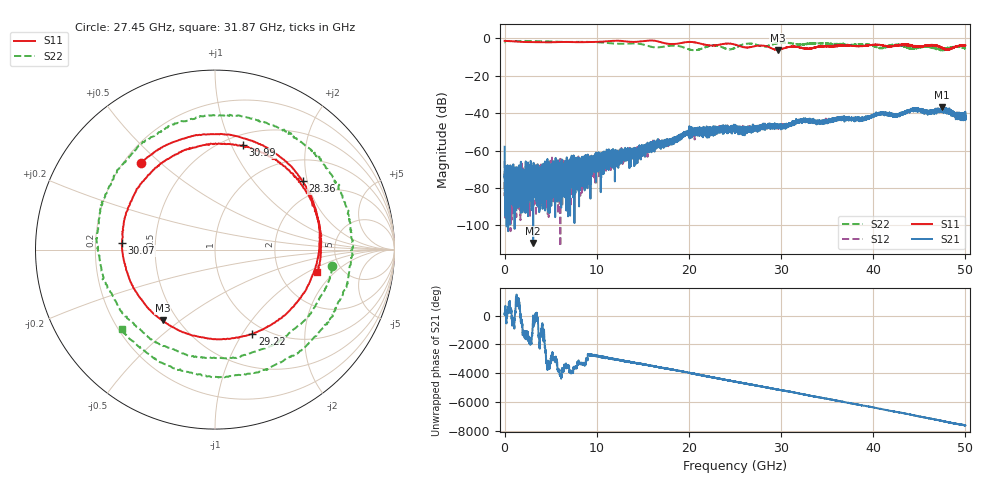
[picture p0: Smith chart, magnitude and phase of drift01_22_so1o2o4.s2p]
!Created with skrf (http://scikit-rf.org).
# Hz S RI R 50.0
!freq ReS11 ImS11 ReS21 ImS21 ReS12 ImS12 ReS22 ImS22
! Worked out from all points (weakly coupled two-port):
!   10001 points, 300 kHz to 50 GHz, reference 50 ohm
!   highest |S21| = -36.72 dB at 47.45 GHz (marker M1); lowest = -109.4 dB at 3.1 GHz (marker M2)
!   lowest |S11| = -6.2 dB at 29.64 GHz (marker M3), VSWR 2.92, Z = 20.8 - j21.6 ohm
!   |S11| at or under -10 dB: nowhere
!   |S22| runs from -6.5 to -1.4 dB; largest |S21 - S12| = 0.0042
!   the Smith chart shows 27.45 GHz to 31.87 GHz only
!   S11 on the Smith chart (normalised r, x): 27.45 GHz: 0.27, +0.43; 28.36 GHz: 1.52, +1.87; 29.22 GHz: 0.87, -1.11; 30.07 GHz: 0.32, +0.03; 30.99 GHz: 0.61, +1.10; 31.87 GHz: 3.25, -1.25
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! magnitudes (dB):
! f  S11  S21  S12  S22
! 300 kHz  -1.3  -58.0  -65.7  -2.1
! 300.3 MHz  -1.4  -69.2  -83.7  -1.4
! 2.535 GHz  -2.0  -75.2  -70.7  -1.4
! 3.1 GHz  -2.0  -109.4  -73.2  -1.4
! 4.98 GHz  -2.1  -76.1  -70.9  -1.6
! 8.335 GHz  -2.0  -71.3  -68.3  -1.8
! 16.67 GHz  -1.6  -56.9  -55.6  -4.8
! 18.62 GHz  -2.9  -54.3  -53.5  -3.9
! 20.24 GHz  -1.9  -51.6  -49.1  -6.2
! 22.6 GHz  -3.9  -50.4  -49.4  -3.8
! 25 GHz  -3.3  -49.5  -49.3  -5.1
! 27.45 GHz  -3.9  -48.1  -47.7  -3.6
! 28.36 GHz  -4.2  -47.1  -47.1  -4.2
! 29.22 GHz  -5.8  -46.4  -46.7  -3.0
! 29.64 GHz  -6.2  -47.1  -47.0  -2.5
! 30.07 GHz  -5.7  -47.3  -47.8  -2.3
! 30.99 GHz  -4.4  -46.0  -46.2  -2.5
! 31.87 GHz  -4.7  -44.7  -43.9  -3.3
! 33.34 GHz  -5.3  -44.2  -43.8  -2.7
! 41.67 GHz  -4.3  -40.9  -40.4  -4.3
! 47.45 GHz  -5.0  -36.7  -39.5  -5.8
! 50 GHz  -3.8  -41.5  -42.0  -5.4
